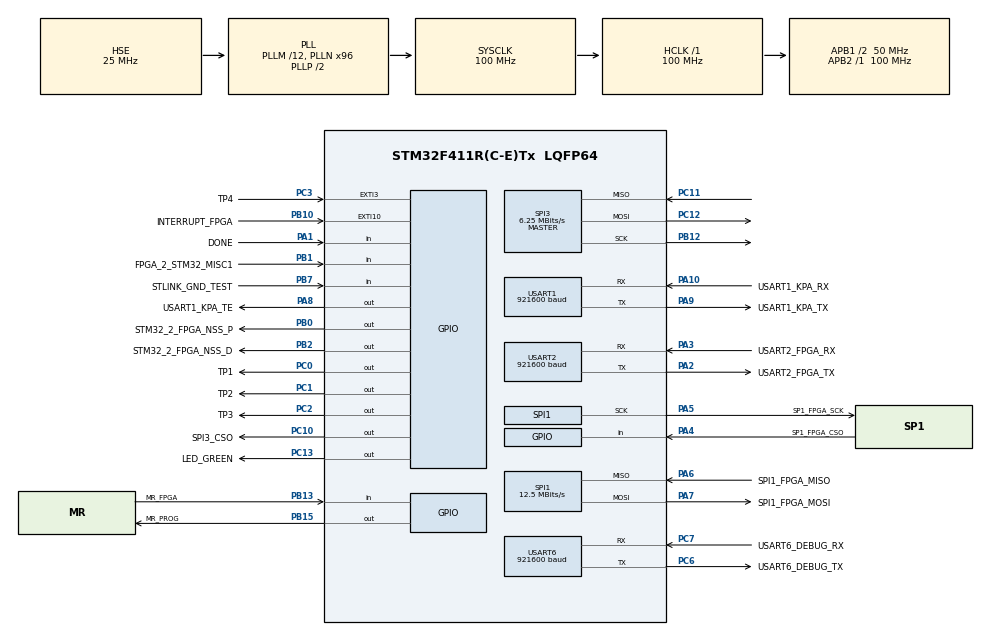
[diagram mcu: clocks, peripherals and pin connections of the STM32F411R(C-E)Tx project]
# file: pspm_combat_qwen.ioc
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ADC1.Channel-0\#ChannelRegularConversion=ADC_CHANNEL_VREFINT
ADC1.Channel-1\#ChannelRegularConversion=ADC_CHANNEL_TEMPSENSOR
ADC1.ContinuousConvMode=ENABLE
ADC1.ExternalTrigConv=ADC_SOFTWARE_START
ADC1.InjNumberOfConversion=0
ADC1.NbrOfConversion=2
ADC1.NbrOfConversionFlag=1
ADC1.Rank-0\#ChannelRegularConversion=1
ADC1.Rank-1\#ChannelRegularConversion=2
ADC1.SamplingTime-0\#ChannelRegularConversion=ADC_SAMPLETIME_480CYCLES
ADC1.SamplingTime-1\#ChannelRegularConversion=ADC_SAMPLETIME_480CYCLES
ADC1.ScanConvMode=ENABLE
ADC1.master=1
Dma.Request0=USART6_RX
Dma.Request1=USART6_TX
Dma.Request2=USART1_RX
Dma.Request3=USART1_TX
Dma.Request4=USART2_RX
Dma.Request5=USART2_TX
Dma.Request6=SPI1_RX
Dma.Request7=SPI1_TX
Dma.SPI1_RX.6.Direction=DMA_PERIPH_TO_MEMORY
Dma.SPI1_RX.6.FIFOMode=DMA_FIFOMODE_DISABLE
Dma.SPI1_RX.6.Instance=DMA2_Stream0
Dma.SPI1_RX.6.MemDataAlignment=DMA_MDATAALIGN_HALFWORD
Dma.SPI1_RX.6.MemInc=DMA_MINC_ENABLE
Dma.SPI1_RX.6.Mode=DMA_NORMAL
Dma.SPI1_RX.6.PeriphDataAlignment=DMA_PDATAALIGN_HALFWORD
Dma.SPI1_RX.6.PeriphInc=DMA_PINC_DISABLE
Dma.SPI1_RX.6.Priority=DMA_PRIORITY_LOW
Dma.SPI1_TX.7.Direction=DMA_MEMORY_TO_PERIPH
Dma.SPI1_TX.7.FIFOMode=DMA_FIFOMODE_DISABLE
Dma.SPI1_TX.7.Instance=DMA2_Stream3
Dma.SPI1_TX.7.MemDataAlignment=DMA_MDATAALIGN_HALFWORD
Dma.SPI1_TX.7.MemInc=DMA_MINC_ENABLE
Dma.SPI1_TX.7.Mode=DMA_NORMAL
Dma.SPI1_TX.7.PeriphDataAlignment=DMA_PDATAALIGN_HALFWORD
Dma.SPI1_TX.7.PeriphInc=DMA_PINC_DISABLE
Dma.SPI1_TX.7.Priority=DMA_PRIORITY_LOW
Dma.USART1_RX.2.Direction=DMA_PERIPH_TO_MEMORY
Dma.USART1_RX.2.FIFOMode=DMA_FIFOMODE_DISABLE
Dma.USART1_RX.2.Instance=DMA2_Stream2
Dma.USART1_RX.2.MemDataAlignment=DMA_MDATAALIGN_BYTE
Dma.USART1_RX.2.MemInc=DMA_MINC_ENABLE
Dma.USART1_RX.2.Mode=DMA_CIRCULAR
Dma.USART1_RX.2.PeriphDataAlignment=DMA_PDATAALIGN_BYTE
Dma.USART1_RX.2.PeriphInc=DMA_PINC_DISABLE
Dma.USART1_RX.2.Priority=DMA_PRIORITY_LOW
Dma.USART1_TX.3.Direction=DMA_MEMORY_TO_PERIPH
Dma.USART1_TX.3.FIFOMode=DMA_FIFOMODE_DISABLE
Dma.USART1_TX.3.Instance=DMA2_Stream7
Dma.USART1_TX.3.MemDataAlignment=DMA_MDATAALIGN_BYTE
Dma.USART1_TX.3.MemInc=DMA_MINC_ENABLE
Dma.USART1_TX.3.Mode=DMA_NORMAL
Dma.USART1_TX.3.PeriphDataAlignment=DMA_PDATAALIGN_BYTE
Dma.USART1_TX.3.PeriphInc=DMA_PINC_DISABLE
Dma.USART1_TX.3.Priority=DMA_PRIORITY_LOW
Dma.USART2_RX.4.Direction=DMA_PERIPH_TO_MEMORY
Dma.USART2_RX.4.FIFOMode=DMA_FIFOMODE_DISABLE
Dma.USART2_RX.4.Instance=DMA1_Stream5
Dma.USART2_RX.4.MemDataAlignment=DMA_MDATAALIGN_BYTE
Dma.USART2_RX.4.MemInc=DMA_MINC_ENABLE
Dma.USART2_RX.4.Mode=DMA_NORMAL
Dma.USART2_RX.4.PeriphDataAlignment=DMA_PDATAALIGN_BYTE
Dma.USART2_RX.4.PeriphInc=DMA_PINC_DISABLE
Dma.USART2_RX.4.Priority=DMA_PRIORITY_LOW
Dma.USART2_TX.5.Direction=DMA_MEMORY_TO_PERIPH
Dma.USART2_TX.5.FIFOMode=DMA_FIFOMODE_DISABLE
Dma.USART2_TX.5.Instance=DMA1_Stream6
Dma.USART2_TX.5.MemDataAlignment=DMA_MDATAALIGN_BYTE
Dma.USART2_TX.5.MemInc=DMA_MINC_ENABLE
Dma.USART2_TX.5.Mode=DMA_NORMAL
Dma.USART2_TX.5.PeriphDataAlignment=DMA_PDATAALIGN_BYTE
Dma.USART2_TX.5.PeriphInc=DMA_PINC_DISABLE
Dma.USART2_TX.5.Priority=DMA_PRIORITY_LOW
Dma.USART6_RX.0.Direction=DMA_PERIPH_TO_MEMORY
Dma.USART6_RX.0.FIFOMode=DMA_FIFOMODE_DISABLE
Dma.USART6_RX.0.Instance=DMA2_Stream1
Dma.USART6_RX.0.MemDataAlignment=DMA_MDATAALIGN_BYTE
Dma.USART6_RX.0.MemInc=DMA_MINC_ENABLE
Dma.USART6_RX.0.Mode=DMA_CIRCULAR
Dma.USART6_RX.0.PeriphDataAlignment=DMA_PDATAALIGN_BYTE
Dma.USART6_RX.0.PeriphInc=DMA_PINC_DISABLE
Dma.USART6_RX.0.Priority=DMA_PRIORITY_LOW
Dma.USART6_TX.1.Direction=DMA_MEMORY_TO_PERIPH
Dma.USART6_TX.1.FIFOMode=DMA_FIFOMODE_DISABLE
Dma.USART6_TX.1.Instance=DMA2_Stream6
Dma.USART6_TX.1.MemDataAlignment=DMA_MDATAALIGN_BYTE
Dma.USART6_TX.1.MemInc=DMA_MINC_ENABLE
Dma.USART6_TX.1.Mode=DMA_NORMAL
Dma.USART6_TX.1.PeriphDataAlignment=DMA_PDATAALIGN_BYTE
Dma.USART6_TX.1.PeriphInc=DMA_PINC_DISABLE
Dma.USART6_TX.1.Priority=DMA_PRIORITY_LOW
FREERTOS.Tasks01=defaultTask,32,1024,StartDefaultTask,Default,NULL,Dynamic,NULL,NULL;TerminalTask,24,1024,StartTerminalTask,Default,NULL,Dynamic,NULL,NULL;TemperatureTask,8,1024,StartTemperaturePressureTask,Default,NULL,Dynamic,NULL,NULL;FreqGenTask,8,1024,StartFreqGeneratorTask,Default,NULL,Dynamic,NULL,NULL
FREERTOS.configTOTAL_HEAP_SIZE=32768
FREERTOS.configUSE_NEWLIB_REENTRANT=1
Mcu.Family=STM32F4
Mcu.Name=STM32F411R(C-E)Tx
Mcu.Package=LQFP64
NVIC.DMA1_Stream5_IRQn=true\:5\:0\:false\:false\:true\:true\:false\:true\:true
NVIC.DMA1_Stream6_IRQn=true\:5\:0\:false\:false\:true\:true\:false\:true\:true
NVIC.DMA2_Stream0_IRQn=true\:5\:0\:false\:false\:true\:true\:false\:true\:true
NVIC.DMA2_Stream1_IRQn=true\:5\:0\:false\:false\:true\:true\:false\:true\:true
NVIC.DMA2_Stream2_IRQn=true\:5\:0\:false\:false\:true\:true\:false\:true\:true
NVIC.DMA2_Stream3_IRQn=true\:5\:0\:false\:false\:true\:true\:false\:true\:true
NVIC.DMA2_Stream6_IRQn=true\:5\:0\:false\:false\:true\:true\:false\:true\:true
NVIC.DMA2_Stream7_IRQn=true\:5\:0\:false\:false\:true\:true\:false\:true\:true
NVIC.EXTI15_10_IRQn=true\:5\:0\:false\:false\:true\:true\:true\:true\:true
NVIC.PriorityGroup=NVIC_PRIORITYGROUP_4
NVIC.SPI1_IRQn=true\:5\:0\:false\:false\:true\:true\:true\:true\:true
NVIC.TIM1_UP_TIM10_IRQn=true\:15\:0\:false\:false\:true\:false\:false\:true\:true
NVIC.TimeBase=TIM1_UP_TIM10_IRQn
NVIC.TimeBaseIP=TIM10
NVIC.USART1_IRQn=true\:5\:0\:false\:false\:true\:true\:true\:true\:true
NVIC.USART2_IRQn=true\:5\:0\:false\:false\:true\:true\:true\:true\:true
NVIC.USART6_IRQn=true\:5\:0\:false\:false\:true\:true\:true\:true\:true
PA1.GPIO_Label=DONE
PA1.Signal=GPIO_Input
PA10.GPIO_Label=USART1_KPA_RX
PA10.Mode=Asynchronous
PA10.Signal=USART1_RX
PA13.Mode=Trace_Asynchronous_SW
PA13.Signal=SYS_JTMS-SWDIO
PA14.Mode=Trace_Asynchronous_SW
PA14.Signal=SYS_JTCK-SWCLK
PA2.GPIO_Label=USART2_FPGA_TX
PA2.Mode=Asynchronous
PA2.Signal=USART2_TX
PA3.GPIO_Label=USART2_FPGA_RX
PA3.Mode=Asynchronous
PA3.Signal=USART2_RX
PA4.GPIO_Label=SP1_FPGA_CSO
PA4.Signal=GPIO_Input
PA5.GPIO_Label=SP1_FPGA_SCK
PA5.Mode=Full_Duplex_Master
PA5.Signal=SPI1_SCK
PA6.GPIO_Label=SPI1_FPGA_MISO
PA6.Mode=Full_Duplex_Master
PA6.Signal=SPI1_MISO
PA7.GPIO_Label=SPI1_FPGA_MOSI
PA7.Mode=Full_Duplex_Master
PA7.Signal=SPI1_MOSI
PA8.GPIO_Label=USART1_KPA_TE
PA8.Signal=GPIO_Output
PA9.GPIO_Label=USART1_KPA_TX
PA9.Mode=Asynchronous
PA9.Signal=USART1_TX
PB0.GPIO_Label=STM32_2_FPGA_NSS_P
PB0.GPIO_PuPd=GPIO_PULLUP
PB0.GPIO_Speed=GPIO_SPEED_FREQ_VERY_HIGH
PB0.PinState=GPIO_PIN_SET
PB0.Signal=GPIO_Output
PB1.GPIO_Label=FPGA_2_STM32_MISC1
PB1.GPIO_PuPd=GPIO_PULLUP
PB1.Signal=GPIO_Input
PB10.GPIO_Label=INTERRUPT_FPGA
PB10.GPIO_ModeDefaultEXTI=GPIO_MODE_IT_FALLING
PB10.Signal=GPXTI10
PB12.Mode=Full_Duplex_Master
PB12.Signal=SPI3_SCK
PB13.GPIO_Label=MR_FPGA
PB13.GPIO_PuPd=GPIO_PULLUP
PB13.Signal=GPIO_Input
PB15.GPIO_Label=MR_PROG
PB15.Signal=GPIO_Output
PB2.GPIO_Label=STM32_2_FPGA_NSS_D
PB2.GPIO_Speed=GPIO_SPEED_FREQ_HIGH
PB2.PinState=GPIO_PIN_SET
PB2.Signal=GPIO_Output
PB3.Mode=Trace_Asynchronous_SW
PB3.Signal=SYS_JTDO-SWO
PB7.GPIO_Label=STLINK_GND_TEST
PB7.GPIO_PuPd=GPIO_PULLUP
PB7.Signal=GPIO_Input
PC0.GPIO_Label=TP1
PC0.Signal=GPIO_Output
PC1.GPIO_Label=TP2
PC1.Signal=GPIO_Output
PC10.GPIO_Label=SPI3_CSO
PC10.GPIO_Speed=GPIO_SPEED_FREQ_HIGH
PC10.PinState=GPIO_PIN_SET
PC10.Signal=GPIO_Output
PC11.Mode=Full_Duplex_Master
PC11.Signal=SPI3_MISO
PC12.Mode=Full_Duplex_Master
PC12.Signal=SPI3_MOSI
PC13-ANTI_TAMP.GPIO_Label=LED_GREEN
PC13-ANTI_TAMP.Signal=GPIO_Output
PC2.GPIO_Label=TP3
PC2.Signal=GPIO_Output
PC3.GPIO_Label=TP4
PC3.Signal=GPXTI3
PC6.GPIO_Label=USART6_DEBUG_TX
PC6.Mode=Asynchronous
PC6.Signal=USART6_TX
PC7.GPIO_Label=USART6_DEBUG_RX
PC7.Mode=Asynchronous
PC7.Signal=USART6_RX
PH0\ -\ OSC_IN.GPIO_Label=CLK25MHZ
PH0\ -\ OSC_IN.Mode=HSE-External-Clock-Source
PH0\ -\ OSC_IN.Signal=RCC_OSC_IN
PH1\ -\ OSC_OUT.Mode=HSE-External-Clock-Source
PH1\ -\ OSC_OUT.Signal=RCC_OSC_OUT
ProjectManager.HeapSize=0x4000
ProjectManager.StackSize=0x2000
ProjectManager.TargetToolchain=STM32CubeIDE
RCC.48MHZClocksFreq_Value=50000000
RCC.AHBFreq_Value=100000000
RCC.APB1CLKDivider=RCC_HCLK_DIV2
RCC.APB1Freq_Value=50000000
RCC.APB1TimFreq_Value=100000000
RCC.APB2Freq_Value=100000000
RCC.APB2TimFreq_Value=100000000
RCC.CortexFreq_Value=100000000
RCC.HCLKFreq_Value=100000000
RCC.HSE_VALUE=25000000
RCC.HSI_VALUE=16000000
RCC.LSE_VALUE=32768
RCC.PLLM=12
RCC.PLLN=96
RCC.PLLSourceVirtual=RCC_PLLSOURCE_HSE
RCC.SYSCLKFreq_VALUE=100000000
RCC.SYSCLKSource=RCC_SYSCLKSOURCE_PLLCLK
RCC.VCOOutputFreq_Value=200000000
SPI1.BaudRatePrescaler=SPI_BAUDRATEPRESCALER_8
SPI1.CLKPolarity=SPI_POLARITY_LOW
SPI1.CalculateBaudRate=12.5 MBits/s
SPI1.DataSize=SPI_DATASIZE_16BIT
SPI1.Direction=SPI_DIRECTION_2LINES
SPI1.Mode=SPI_MODE_MASTER
SPI1.VirtualType=VM_MASTER
SPI3.BaudRatePrescaler=SPI_BAUDRATEPRESCALER_8
SPI3.CalculateBaudRate=6.25 MBits/s
SPI3.Direction=SPI_DIRECTION_2LINES
SPI3.Mode=SPI_MODE_MASTER
SPI3.VirtualType=VM_MASTER
USART1.BaudRate=921600
USART1.Parity=PARITY_EVEN
USART1.VirtualMode=VM_ASYNC
USART1.WordLength=WORDLENGTH_9B
USART2.BaudRate=921600
USART2.Parity=PARITY_EVEN
USART2.VirtualMode=VM_ASYNC
USART2.WordLength=WORDLENGTH_9B
USART6.BaudRate=921600
USART6.Parity=PARITY_EVEN
USART6.VirtualMode=VM_ASYNC
USART6.WordLength=WORDLENGTH_9B
VP_ADC1_TempSens_Input.Mode=IN-TempSens
VP_ADC1_Vref_Input.Mode=IN-Vrefint
VP_CRC_VS_CRC.Mode=CRC_Activate
VP_FREERTOS_VS_CMSIS_V2.Mode=CMSIS_V2
VP_SYS_VS_tim10.Mode=TIM10
board=custom

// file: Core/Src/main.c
/* USER CODE BEGIN Header */
/**
  ******************************************************************************
  * @file           : main.c
  * @brief          : Main program body
  ******************************************************************************
  * @attention
  *
  * Copyright (c) 2026 STMicroelectronics.
  * All rights reserved.
  *
  * This software is licensed under terms that can be found in the LICENSE file
  * in the root directory of this software component.
  * If no LICENSE file comes with this software, it is provided AS-IS.
  *
  ******************************************************************************
  */
/* USER CODE END Header */
#include "main.h"
#include "cmsis_os.h"
#include "adc.h"
#include "crc.h"
#include "dma.h"
#include "spi.h"
#include "usart.h"
#include "gpio.h"

/* USER CODE BEGIN Includes */
#include "board_support_package.h"
/* USER CODE END Includes */

/* USER CODE BEGIN PV */
#if (APPLICATION_USE_BOOTLOADER == 1)
/* Firmware passport: consumed by patch_crc.py (PC side) and by
 * check_application() in bootloader. Placed by the linker script
 * STM32F411RETX_FLASH_BL.ld into section .fw_header, right after the
 * vector table. fw_size/crc32 are placeholders (0xFFFFFFFF) in the
 * compiled image, overwritten by the patcher */
typedef struct {
	uint32_t magic;   /* 0x55AA55AA - search signature */
	uint32_t version; /* firmware version, patcher expects 1 */
	uint32_t fw_size; /* total padded image size, filled by patch_crc.py */
	uint32_t crc32;   /* CRC32 (STM32 hardware algorithm) of payload */
} fw_header_t;

__attribute__((section(".fw_header"), used)) volatile const fw_header_t fw_header = {
		.magic   = 0x55AA55AA,
		.version = 1,
		.fw_size = 0xFFFFFFFF, /* placeholder for patch_crc.py */
		.crc32   = 0xFFFFFFFF, /* placeholder for patch_crc.py */
};
#endif
/* USER CODE END PV */

void SystemClock_Config(void);
void MX_FREERTOS_Init(void);

int main(void)
{

  /* USER CODE BEGIN 1 */

#if (APPLICATION_USE_BOOTLOADER == 1)
		SCB->VTOR = 0x08020000U;
		__enable_irq();
#endif
  /* USER CODE END 1 */

  /* MCU Configuration--------------------------------------------------------*/

  /* Reset of all peripherals, Initializes the Flash interface and the Systick. */
  HAL_Init();

  /* Configure the system clock */
  SystemClock_Config();

  /* Initialize all configured peripherals */
  MX_GPIO_Init();
  MX_DMA_Init();
  MX_USART6_UART_Init();
  MX_USART1_UART_Init();
  MX_USART2_UART_Init();
  MX_SPI1_Init();
  MX_ADC1_Init();
  MX_CRC_Init();
  MX_SPI3_Init();

  /* Init scheduler */
  osKernelInitialize();  /* Call init function for freertos objects (in cmsis_os2.c) */
  MX_FREERTOS_Init();

  /* Start scheduler */
  osKernelStart();

  /* We should never get here as control is now taken by the scheduler */

  /* Infinite loop */
  while (1)
  {

  }
}

void SystemClock_Config(void)
{
  RCC_OscInitTypeDef RCC_OscInitStruct = {0};
  RCC_ClkInitTypeDef RCC_ClkInitStruct = {0};

  /** Configure the main internal regulator output voltage
  */
  __HAL_RCC_PWR_CLK_ENABLE();
  __HAL_PWR_VOLTAGESCALING_CONFIG(PWR_REGULATOR_VOLTAGE_SCALE1);

  /** Initializes the RCC Oscillators according to the specified parameters
  * in the RCC_OscInitTypeDef structure.
  */
  RCC_OscInitStruct.OscillatorType = RCC_OSCILLATORTYPE_HSE;
  RCC_OscInitStruct.HSEState = RCC_HSE_BYPASS;
  RCC_OscInitStruct.PLL.PLLState = RCC_PLL_ON;
  RCC_OscInitStruct.PLL.PLLSource = RCC_PLLSOURCE_HSE;
  RCC_OscInitStruct.PLL.PLLM = 12;
  RCC_OscInitStruct.PLL.PLLN = 96;
  RCC_OscInitStruct.PLL.PLLP = RCC_PLLP_DIV2;
  RCC_OscInitStruct.PLL.PLLQ = 4;
  if (HAL_RCC_OscConfig(&RCC_OscInitStruct) != HAL_OK)
  {
    Error_Handler();
  }

  /** Initializes the CPU, AHB and APB buses clocks
  */
  RCC_ClkInitStruct.ClockType = RCC_CLOCKTYPE_HCLK|RCC_CLOCKTYPE_SYSCLK
                              |RCC_CLOCKTYPE_PCLK1|RCC_CLOCKTYPE_PCLK2;
  RCC_ClkInitStruct.SYSCLKSource = RCC_SYSCLKSOURCE_PLLCLK;
  RCC_ClkInitStruct.AHBCLKDivider = RCC_SYSCLK_DIV1;
  RCC_ClkInitStruct.APB1CLKDivider = RCC_HCLK_DIV2;
  RCC_ClkInitStruct.APB2CLKDivider = RCC_HCLK_DIV1;

  if (HAL_RCC_ClockConfig(&RCC_ClkInitStruct, FLASH_LATENCY_3) != HAL_OK)
  {
    Error_Handler();
  }
}

void HAL_TIM_PeriodElapsedCallback(TIM_HandleTypeDef *htim)
{
  if (htim->Instance == TIM10)
  {
    HAL_IncTick();
  }
}

void Error_Handler(void)
{
  __disable_irq();
  while (1)
  {
  }
}

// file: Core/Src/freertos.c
/* USER CODE BEGIN Header */
/**
  ******************************************************************************
  * File Name          : freertos.c
  * Description        : Real-Time Task Sequencer for PSPM Combat System.
  *                      Deterministic 400 Hz FPGA Loop & Background Tasks.
  *                      Target MCU: STM32F411RET6 (100 MHz / FreeRTOS CMSIS-OS v2).
  *                      All comments in pure ASCII English.
  ******************************************************************************
  */
/* USER CODE END Header */

#include "FreeRTOS.h"
#include "task.h"
#include "main.h"
#include "cmsis_os.h"

/* USER CODE BEGIN Includes */
#include "board_support_package.h"
#include "pin_mgmt.h"
#include "stm32_2_fpga_spi_bridge.h"
#include "fpga_control.h"
#include "terminal.h"
#include "ic.h"
#include "rdc.h"
#include "fpga_adc.h"
#include "host.h"
#include "bmp280.h"
#include "app_tasks.h"
/* USER CODE END Includes */

/* USER CODE BEGIN PD */
/* Application task bodies live in board_support_package/app_tasks.c so that
   CubeMX regeneration of this file can never destroy application logic. */
/* USER CODE END PD */

/* Definitions for defaultTask */
osThreadId_t defaultTaskHandle;
const osThreadAttr_t defaultTask_attributes = {
  .name = "defaultTask",
  .stack_size = 1024 * 4,
  .priority = (osPriority_t) osPriorityAboveNormal,
};
/* Definitions for TerminalTask */
osThreadId_t TerminalTaskHandle;
const osThreadAttr_t TerminalTask_attributes = {
  .name = "TerminalTask",
  .stack_size = 1024 * 4,
  .priority = (osPriority_t) osPriorityNormal,
};
/* Definitions for TemperatureTask */
osThreadId_t TemperatureTaskHandle;
const osThreadAttr_t TemperatureTask_attributes = {
  .name = "TemperatureTask",
  .stack_size = 1024 * 4,
  .priority = (osPriority_t) osPriorityLow,
};
/* Definitions for FreqGenTask */
osThreadId_t FreqGenTaskHandle;
const osThreadAttr_t FreqGenTask_attributes = {
  .name = "FreqGenTask",
  .stack_size = 1024 * 4,
  .priority = (osPriority_t) osPriorityLow,
};

void StartDefaultTask(void *argument);
void StartTerminalTask(void *argument);
void StartTemperaturePressureTask(void *argument);
void StartFreqGeneratorTask(void *argument);

void MX_FREERTOS_Init(void); /* (MISRA C 2004 rule 8.1) */

void MX_FREERTOS_Init(void) {

  /* Create the thread(s) */
  /* creation of defaultTask */
  defaultTaskHandle = osThreadNew(StartDefaultTask, NULL, &defaultTask_attributes);

  /* creation of TerminalTask */
  TerminalTaskHandle = osThreadNew(StartTerminalTask, NULL, &TerminalTask_attributes);

  /* creation of TemperatureTask */
  TemperatureTaskHandle = osThreadNew(StartTemperaturePressureTask, NULL, &TemperatureTask_attributes);

  /* creation of FreqGenTask */
  FreqGenTaskHandle = osThreadNew(StartFreqGeneratorTask, NULL, &FreqGenTask_attributes);

}

/* USER CODE BEGIN Header_StartDefaultTask */
/**
  * @brief  Default Task: Master 400 Hz Real-Time Control Sequencer (T = 2.500 ms).
  * @note   Pipeline per period:
  *          1. Sleeps on EXTI10 hardware notification (IC_Process).
  *          2. Fetches 34-word RAW telemetry burst via SPI1 DMA (NSS_D / PB2).
  *          3. Executes Type-II PLL Tracking Filter for Resolver (RDC_Process).
  *          4. Computes Peak Demodulated ADC Scaling (FPGA_ADC_Process).
  *          5. Assembles and starts non-blocking 32-byte UART2 DMA TX to BC (HOST_Process).
  *          6. Drains BC UART RX ring and runs RX silence watchdog (host_process_rx_pending / host_rx_guard).
  *          7. Profiling: Generates active-high pulse on TP1 for oscilloscope metrics.
  * @param  argument: Not used
  * @retval None
  */
/* USER CODE END Header_StartDefaultTask */
void StartDefaultTask(void *argument)
{
  /* USER CODE BEGIN StartDefaultTask */
  app_default_task();
  /* USER CODE END StartDefaultTask */
}

/* USER CODE BEGIN Header_StartTerminalTask */
/**
  * @brief  Terminal Task: DSPAssist (eAssist / DSPA) 1 ms Periodic Engine.
  * @note   Sleeps with 0% CPU consumption until authorized by defaultTask.
  * @param  argument: Not used
  * @retval None
  */
/* USER CODE END Header_StartTerminalTask */
void StartTerminalTask(void *argument)
{
  /* USER CODE BEGIN StartTerminalTask */
  app_terminal_task();
  /* USER CODE END StartTerminalTask */
}

/* USER CODE BEGIN Header_StartTemperaturePressureTask */
/**
  * @brief  Background Telemetry Task: 10 Hz Periodic Execution Loop.
  * @note   Updates Bosch BMP280 atmospheric pressure and internal STM32 CPU temperature.
  * @param  argument: Not used
  * @retval None
  */
/* USER CODE END Header_StartTemperaturePressureTask */
void StartTemperaturePressureTask(void *argument)
{
  /* USER CODE BEGIN StartTemperaturePressureTask */
  app_temperature_task();
  /* USER CODE END StartTemperaturePressureTask */
}

void StartFreqGeneratorTask(void *argument)
{
  /* USER CODE BEGIN StartFreqGeneratorTask */
  app_freq_generator_task();
  /* USER CODE END StartFreqGeneratorTask */
}
